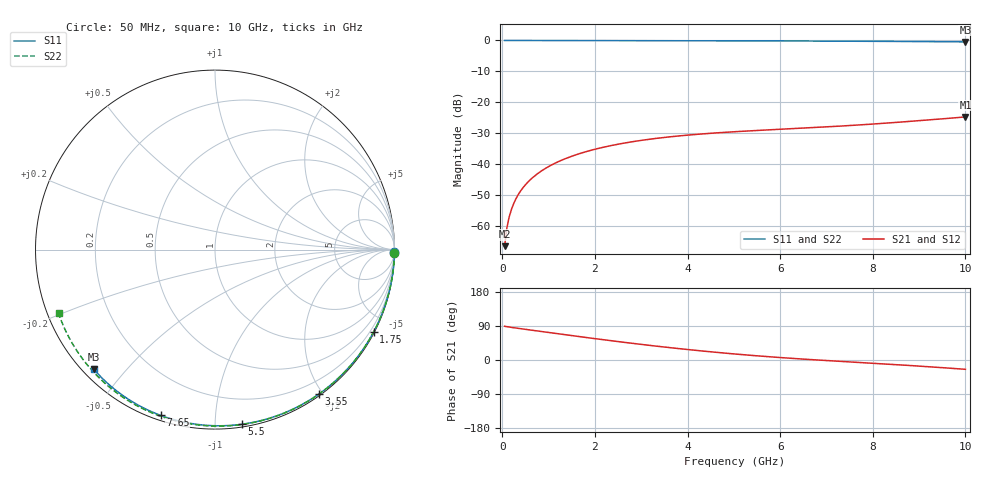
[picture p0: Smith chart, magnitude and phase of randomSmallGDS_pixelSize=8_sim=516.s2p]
! freq	dB(S11)	phase(S11)	dB(S12)	phase(S12)
!  dB(S21)	phase(S21)	dB(S22)	phase(S22)
!S-par simulation data
#  GHz  S  DB  R 50
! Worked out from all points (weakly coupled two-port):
!   200 points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, 50 MHz to 10 GHz, reference 50 ohm
!   highest |S21| = -24.71 dB at 10 GHz (marker M1); lowest = -66.4 dB at 50 MHz (marker M2)
!   lowest |S11| = -0.5 dB at 10 GHz (marker M3), VSWR 38.04, Z = 1.53 - j20.4 ohm
!   |S11| at or under -10 dB: nowhere
!   |S22| runs from -0.5 to 0.0 dB; largest |S21 - S12| = 0
!   S11 on the Smith chart (normalised r, x): 50 MHz: open; 1.75 GHz: 0.04, -4.09; 3.55 GHz: 0.02, -1.95; 5.5 GHz: 0.02, -1.17; 7.65 GHz: 0.02, -0.72; 10 GHz: 0.03, -0.41
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0.05  -0.00 -0.8  -66.44 89.0  -66.44 89.0  -0.00 -0.9
0.1  -0.00 -1.6  -60.43 87.9  -60.43 87.9  -0.00 -1.9
0.15  -0.00 -2.4  -56.93 87.0  -56.93 87.0  -0.00 -2.8
0.2  -0.00 -3.2  -54.45 86.0  -54.45 86.0  -0.00 -3.7
0.25  -0.00 -4.0  -52.54 85.1  -52.54 85.1  -0.00 -4.7
0.35  -0.00 -5.6  -49.66 83.4  -49.66 83.4  -0.00 -6.5
0.5  -0.01 -8.0  -46.61 80.9  -46.61 80.9  -0.01 -9.3
0.7  -0.01 -11.1  -43.74 77.6  -43.74 77.6  -0.01 -13.0
1  -0.02 -15.9  -40.73 72.6  -40.73 72.6  -0.02 -18.5
1.35  -0.03 -21.3  -38.25 66.8  -38.25 66.8  -0.03 -24.8
1.75  -0.04 -27.5  -36.17 60.3  -36.17 60.3  -0.04 -32.0
2.5  -0.05 -38.9  -33.51 48.6  -33.51 48.6  -0.06 -45.2
3.4  -0.07 -52.2  -31.49 35.6  -31.49 35.6  -0.08 -60.5
3.55  -0.08 -54.4  -31.24 33.5  -31.24 33.5  -0.09 -63.0
4.3  -0.10 -65.0  -30.20 24.0  -30.20 24.0  -0.11 -75.2
5.05  -0.12 -75.3  -29.45 15.5  -29.45 15.5  -0.14 -86.9
5.5  -0.13 -81.2  -29.07 11.0  -29.07 11.0  -0.16 -93.8
6.7  -0.19 -96.6  -28.16 0.8  -28.16 0.8  -0.22 -111.4
7.65  -0.25 -108.2  -27.34 -6.1  -27.34 -6.1  -0.29 -124.9
8.35  -0.30 -116.5  -26.64 -11.1  -26.64 -11.1  -0.35 -134.6
9.2  -0.37 -126.3  -25.67 -17.7  -25.67 -17.7  -0.43 -146.5
10  -0.46 -135.5  -24.71 -24.6  -24.71 -24.6  -0.53 -157.8
